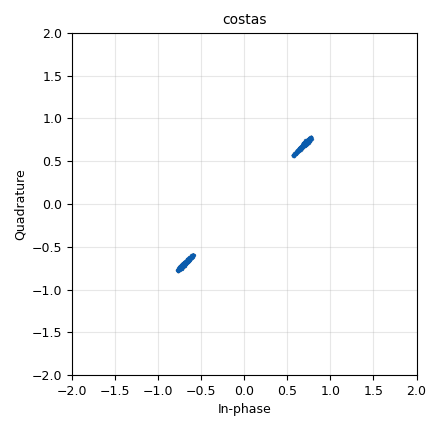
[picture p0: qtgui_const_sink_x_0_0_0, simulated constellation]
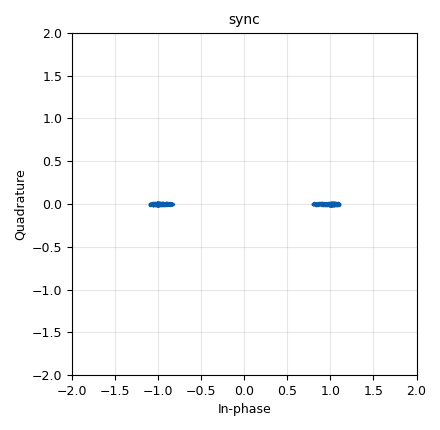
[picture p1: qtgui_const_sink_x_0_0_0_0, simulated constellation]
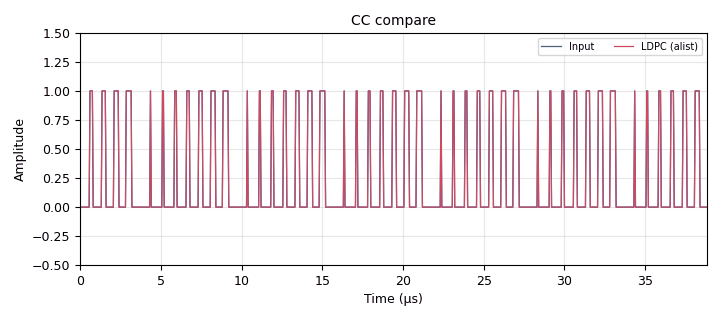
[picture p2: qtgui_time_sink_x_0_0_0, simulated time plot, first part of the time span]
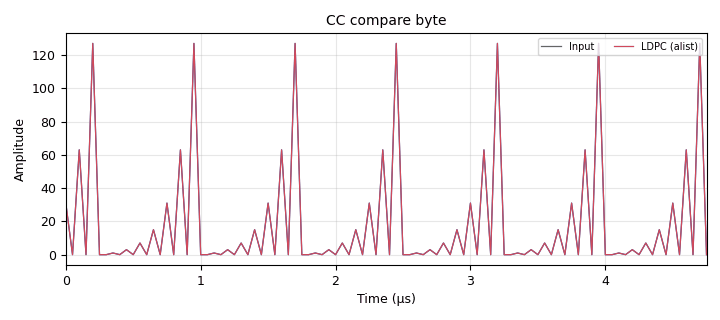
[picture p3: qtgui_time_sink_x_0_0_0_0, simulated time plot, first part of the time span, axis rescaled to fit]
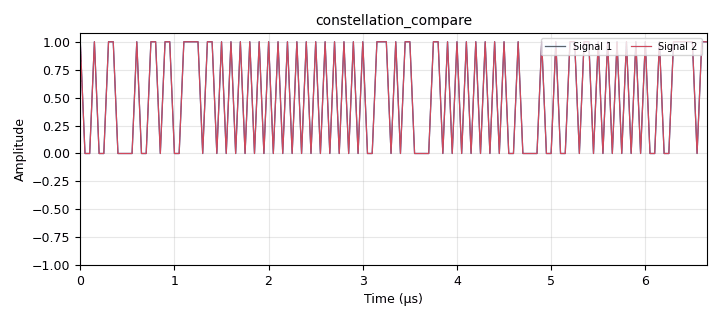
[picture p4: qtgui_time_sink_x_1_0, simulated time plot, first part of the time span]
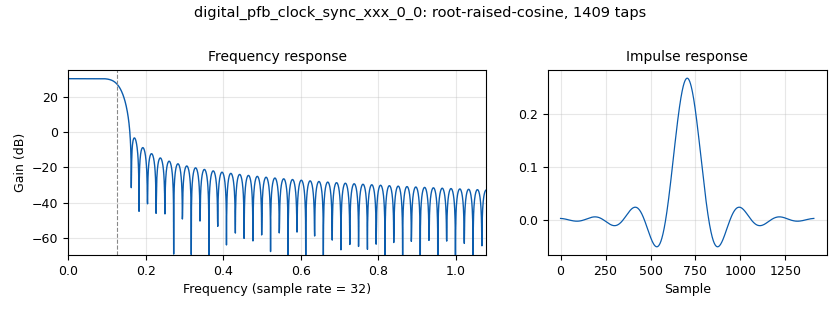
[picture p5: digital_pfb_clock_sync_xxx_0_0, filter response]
options:
  parameters:
    author: J. Gier
    generate_options: qt_gui
    id: BPSK_Mod_Demod
    output_language: python
    title: BPSK Modulator / Demodulator
  states: {}

blocks:
- name: access_code
  id: variable
  parameters:
    comment: This is the CCSDS access code
    value: 0o00011010110011111111110000011101
  states: {}
- name: bpsk
  id: variable_constellation
  parameters:
    precision: '8'
    type: bpsk
  states: {}
- name: cc_dec_def
  id: variable_cc_decoder_def
  parameters:
    framebits: 'frame_size  * 8 '
    k: '7'
    mode: fec.CC_STREAMING
    ndim: '0'
    padding: 'False'
    polys: '[-109,79]'
    rate: '2'
    state_end: '-1'
    state_start: '0'
  states: {}
- name: cc_enc_def
  id: variable_cc_encoder_def
  parameters:
    framebits: 'frame_size * 8 '
    k: '7'
    mode: fec.CC_STREAMING
    ndim: '0'
    padding: 'False'
    polys: '[-109,79]'
    rate: '2'
    state_start: '0'
  states: {}
- name: decode_bits
  id: variable
  parameters:
    value: int(frame_bits/8)
  states: {}
- name: delay_bit
  id: variable
  parameters:
    value: '16'
  states: {}
- name: delay_byte
  id: variable
  parameters:
    value: delay_bit * 2
  states: {}
- name: delay_constellation
  id: variable
  parameters:
    value: delay_bit * 2
  states: {}
- name: depth
  id: variable
  parameters:
    value: '1'
  states: {}
- name: excess_bw
  id: variable
  parameters:
    value: '0.250'
  states: {}
- name: first_root
  id: variable
  parameters:
    value: '112'
  states: {}
- name: format_key
  id: variable
  parameters:
    value: '"protocol_packet"'
  states: {}
- name: frame_bits
  id: variable
  parameters:
    value: frame_bytes*8
  states: {}
- name: frame_bytes
  id: variable
  parameters:
    value: payload_coded_len* depth
  states: {}
- name: frame_len
  id: variable
  parameters:
    value: '2072'
  states: {}
- name: freq_offset
  id: variable_qtgui_range
  parameters:
    label: 'Channel: Freq Offset'
    start: '-100e-2 * (1/samp_rate)'
    step: 10e-2 * (1/samp_rate)
    stop: 100e-2 * (1/samp_rate)
    value: '0'
  states: {}
- name: gen_poly
  id: variable
  parameters:
    value: '285'
  states: {}
- name: len_tag_key
  id: variable
  parameters:
    value: '"frame_len"'
  states: {}
- name: len_tag_key_bits
  id: variable
  parameters:
    value: '"frame_len_bits"'
  states: {}
- name: nfilts
  id: variable
  parameters:
    value: '32'
  states: {}
- name: noise_volt
  id: variable_qtgui_range
  parameters:
    label: 'Channel: Noise Voltage'
    start: '0'
    step: '100e-3'
    stop: '500e-3'
    value: '10E-3'
  states: {}
- name: nroots
  id: variable
  parameters:
    value: '32'
  states: {}
- name: payload_coded_len
  id: variable
  parameters:
    value: payload_len_int + 32
  states: {}
- name: payload_len_int
  id: variable
  parameters:
    value: '223'
  states: {}
- name: phase_bw
  id: variable
  parameters:
    value: 2*3.14/100
  states: {}
- name: prim_element
  id: variable
  parameters:
    value: '2'
  states: {}
- name: rrc_taps
  id: variable
  parameters:
    value: firdes.root_raised_cosine(nfilts, nfilts, 1.0/float(sps), excess_bw, nfilts*11*sps)
  states: {}
- name: rs_generator
  id: variable
  parameters:
    comment: int 391 = 0x187, which is CCSDS rs poly generator
    value: '291'
  states: {}
- name: samp_rate
  id: variable
  parameters:
    value: 20E6
  states: {}
- name: sps
  id: variable
  parameters:
    value: '4'
  states: {}
- name: symbol_rate
  id: variable
  parameters:
    value: samp_rate/sps
  states: {}
- name: time_offset
  id: variable_qtgui_range
  parameters:
    label: 'Channel: time offset'
    start: '0.999'
    step: '100e-6'
    stop: '1.001'
    value: '1'
  states: {}
- name: blocks_char_to_float_0_1_0
  id: blocks_char_to_float
  parameters:
    scale: '1'
  states: {}
- name: blocks_char_to_float_0_1_0_0
  id: blocks_char_to_float
  parameters:
    scale: '1'
  states: {state: disabled}
- name: blocks_char_to_float_0_1_0_0_0
  id: blocks_char_to_float
  parameters:
    scale: '1'
  states: {}
- name: blocks_char_to_float_0_1_0_0_1_0_1
  id: blocks_char_to_float
  parameters:
    scale: '1'
  states: {}
- name: blocks_char_to_float_0_1_0_0_1_0_1_0
  id: blocks_char_to_float
  parameters:
    scale: '1'
  states: {}
- name: blocks_char_to_float_0_1_0_1
  id: blocks_char_to_float
  parameters:
    scale: '1'
  states: {}
- name: blocks_char_to_float_0_1_0_1_0
  id: blocks_char_to_float
  parameters:
    scale: '1'
  states: {}
- name: blocks_char_to_float_0_2_0
  id: blocks_char_to_float
  parameters:
    scale: '1'
  states: {}
- name: blocks_delay_1
  id: blocks_delay
  parameters:
    delay: '16'
    type: byte
  states: {}
- name: blocks_delay_1_0
  id: blocks_delay
  parameters:
    delay: delay_byte
    type: byte
  states: {}
- name: blocks_delay_2
  id: blocks_delay
  parameters:
    delay: delay_constellation
    type: byte
  states: {}
- name: blocks_delay_3
  id: blocks_delay
  parameters:
    delay: '3'
    type: complex
  states: {}
- name: blocks_pack_k_bits_bb_1_0
  id: blocks_pack_k_bits_bb
  parameters:
    k: '8'
  states: {}
- name: blocks_pack_k_bits_bb_1_0_0
  id: blocks_pack_k_bits_bb
  parameters:
    k: '8'
  states: {state: disabled}
- name: blocks_pack_k_bits_bb_1_0_0_0
  id: blocks_pack_k_bits_bb
  parameters:
    k: '8'
  states: {}
- name: blocks_pack_k_bits_bb_1_0_0_0_0
  id: blocks_pack_k_bits_bb
  parameters:
    k: '8'
  states: {state: disabled}
- name: blocks_throttle2_0
  id: blocks_throttle2
  parameters:
    samples_per_second: samp_rate
    type: complex
  states: {}
- name: blocks_unpack_k_bits_bb_2
  id: blocks_unpack_k_bits_bb
  parameters:
    k: '8'
  states: {}
- name: blocks_unpack_k_bits_bb_2_0
  id: blocks_unpack_k_bits_bb
  parameters:
    k: '8'
  states: {}
- name: blocks_vector_source_x_0_1_0
  id: blocks_vector_source_x
  parameters:
    repeat: 'True'
    type: byte
    vector: (frame_size//15)*[0, 0, 1, 0, 3, 0, 7, 0, 15, 0, 31, 0, 63, 0, 127]
  states: {}
- name: blocks_vector_source_x_0_1_0_0
  id: blocks_vector_source_x
  parameters:
    repeat: 'True'
    type: byte
    vector: (frame_size//15)*[0, 0, 1, 0, 3, 0, 7, 0, 15, 0, 31, 0, 63, 0, 127]
  states: {state: disabled}
- name: channels_channel_model_0
  id: channels_channel_model
  parameters:
    epsilon: time_offset
    freq_offset: freq_offset
    noise_voltage: noise_volt
    seed: '0'
    taps: '1.0'
  states: {}
- name: digital_constellation_decoder_cb_0
  id: digital_constellation_decoder_cb
  parameters:
    constellation: bpsk
  states: {}
- name: digital_constellation_modulator_0_0
  id: digital_constellation_modulator
  parameters:
    constellation: bpsk
    differential: 'False'
    excess_bw: excess_bw
    samples_per_symbol: sps
  states: {}
- name: digital_costas_loop_cc_0_0
  id: digital_costas_loop_cc
  parameters:
    order: '4'
    use_snr: 'True'
    w: '0.2'
  states: {}
- name: digital_descrambler_bb_0
  id: digital_descrambler_bb
  parameters:
    len: '7'
    mask: '0x9A'
    seed: '0xFF'
  states: {state: disabled}
- name: digital_map_bb_0_0_0_0
  id: digital_map_bb
  parameters:
    map: '[-1,1]'
  states: {}
- name: digital_pfb_clock_sync_xxx_0_0
  id: digital_pfb_clock_sync_xxx
  parameters:
    filter_size: nfilts
    init_phase: '0'
    loop_bw: excess_bw
    max_dev: '1.5'
    osps: '1'
    sps: sps
    taps: rrc_taps
    type: ccf
  states: {}
- name: digital_scrambler_bb_0
  id: digital_scrambler_bb
  parameters:
    len: '7'
    mask: '0x9A'
    seed: '0xFF'
  states: {state: disabled}
- name: fec_extended_decoder_0_1_0
  id: fec_extended_decoder
  parameters:
    decoder_list: cc_dec_def
    puncpat: puncpat
    threadtype: capillary
  states: {}
- name: fec_extended_encoder_1_0_0
  id: fec_extended_encoder
  parameters:
    encoder_list: cc_enc_def
    puncpat: puncpat
    threadtype: capillary
  states: {}
- name: frame_size
  id: parameter
  parameters:
    label: Frame Size
    type: intx
    value: '100'
  states: {}
- name: puncpat
  id: parameter
  parameters:
    value: '''11'''
  states: {}
- name: qtgui_const_sink_x_0_0_0
  id: qtgui_const_sink_x
  parameters:
    name: costas
    size: '2056'
    type: complex
  states: {}
- name: qtgui_const_sink_x_0_0_0_0
  id: qtgui_const_sink_x
  parameters:
    name: sync
    size: '2056'
    type: complex
  states: {}
- name: qtgui_time_sink_x_0_0_0
  id: qtgui_time_sink_x
  parameters:
    alpha2: '0.6'
    label1: Input
    label2: LDPC (alist)
    name: CC compare
    nconnections: '2'
    size: '2048'
    srate: samp_rate
    type: float
    update_time: '0.01'
    ymax: '1.5'
    ymin: '-0.5'
  states: {}
- name: qtgui_time_sink_x_0_0_0_0
  id: qtgui_time_sink_x
  parameters:
    alpha2: '0.6'
    label1: Input
    label2: LDPC (alist)
    name: CC compare byte
    nconnections: '2'
    size: '2048'
    srate: samp_rate
    type: float
    update_time: '0.01'
    ymax: '1.5'
    ymin: '-0.5'
  states: {}
- name: qtgui_time_sink_x_0_1_0_0_0_1
  id: qtgui_time_sink_x
  parameters:
    entags: 'False'
    grid: 'True'
    label1: Input
    name: descrambler_out
    size: '2048'
    srate: samp_rate
    type: float
    update_time: '0.01'
    ymax: '1.5'
    ymin: '-5'
  states: {state: disabled}
- name: qtgui_time_sink_x_1_0
  id: qtgui_time_sink_x
  parameters:
    name: constellation_compare
    nconnections: '2'
    size: '1024'
    srate: samp_rate
    type: float
  states: {}
- name: virtual_sink_0
  id: virtual_sink
  parameters:
    stream_id: constel_in
  states: {}
- name: virtual_sink_1_0_0
  id: virtual_sink
  parameters:
    comment: input is byte formatted
    stream_id: input
  states: {}
- name: virtual_sink_2
  id: virtual_sink
  parameters:
    stream_id: constel_out
  states: {}
- name: virtual_sink_2_0
  id: virtual_sink
  parameters:
    stream_id: decoder_out
  states: {}
- name: virtual_sink_3
  id: virtual_sink
  parameters:
    stream_id: channel
  states: {}
- name: virtual_source_0
  id: virtual_source
  parameters:
    stream_id: constel_out
  states: {}
- name: virtual_source_0_0
  id: virtual_source
  parameters:
    stream_id: constel_out
  states: {}
- name: virtual_source_0_1
  id: virtual_source
  parameters:
    stream_id: decoder_out
  states: {}
- name: virtual_source_1
  id: virtual_source
  parameters:
    stream_id: channel
  states: {}
- name: virtual_source_1_1_0
  id: virtual_source
  parameters:
    comment: 'Input: Bytes'
    stream_id: input
  states: {}
- name: virtual_source_2
  id: virtual_source
  parameters:
    stream_id: constel_in
  states: {}
- name: virtual_source_2_0
  id: virtual_source
  parameters:
    stream_id: constel_in
  states: {}

connections:
- [blocks_char_to_float_0_1_0, '0', qtgui_time_sink_x_0_0_0, '0']
- [blocks_char_to_float_0_1_0_0, '0', qtgui_time_sink_x_0_1_0_0_0_1, '0']
- [blocks_char_to_float_0_1_0_0_0, '0', qtgui_time_sink_x_0_0_0, '1']
- [blocks_char_to_float_0_1_0_0_1_0_1, '0', qtgui_time_sink_x_1_0, '1']
- [blocks_char_to_float_0_1_0_0_1_0_1_0, '0', qtgui_time_sink_x_1_0, '0']
- [blocks_char_to_float_0_1_0_1, '0', qtgui_time_sink_x_0_0_0_0, '0']
- [blocks_char_to_float_0_1_0_1_0, '0', qtgui_time_sink_x_0_0_0_0, '1']
- [blocks_char_to_float_0_2_0, '0', fec_extended_decoder_0_1_0, '0']
- [blocks_delay_1, '0', blocks_char_to_float_0_1_0, '0']
- [blocks_delay_1_0, '0', blocks_char_to_float_0_1_0_1, '0']
- [blocks_delay_2, '0', blocks_char_to_float_0_1_0_0_1_0_1_0, '0']
- [blocks_delay_3, '0', digital_constellation_decoder_cb_0, '0']
- [blocks_pack_k_bits_bb_1_0, '0', digital_constellation_modulator_0_0, '0']
- [blocks_pack_k_bits_bb_1_0_0, '0', digital_descrambler_bb_0, '0']
- [blocks_pack_k_bits_bb_1_0_0_0, '0', blocks_char_to_float_0_1_0_1_0, '0']
- [blocks_pack_k_bits_bb_1_0_0_0_0, '0', blocks_char_to_float_0_1_0_0, '0']
- [blocks_throttle2_0, '0', channels_channel_model_0, '0']
- [blocks_unpack_k_bits_bb_2, '0', fec_extended_encoder_1_0_0, '0']
- [blocks_unpack_k_bits_bb_2_0, '0', blocks_delay_1, '0']
- [blocks_vector_source_x_0_1_0, '0', blocks_unpack_k_bits_bb_2, '0']
- [blocks_vector_source_x_0_1_0, '0', virtual_sink_1_0_0, '0']
- [blocks_vector_source_x_0_1_0_0, '0', digital_scrambler_bb_0, '0']
- [blocks_vector_source_x_0_1_0_0, '0', virtual_sink_1_0_0, '0']
- [channels_channel_model_0, '0', virtual_sink_3, '0']
- [digital_constellation_decoder_cb_0, '0', virtual_sink_2, '0']
- [digital_constellation_modulator_0_0, '0', blocks_throttle2_0, '0']
- [digital_costas_loop_cc_0_0, '0', blocks_delay_3, '0']
- [digital_costas_loop_cc_0_0, '0', qtgui_const_sink_x_0_0_0, '0']
- [digital_descrambler_bb_0, '0', blocks_pack_k_bits_bb_1_0_0_0_0, '0']
- [digital_descrambler_bb_0, '0', virtual_sink_2_0, '0']
- [digital_map_bb_0_0_0_0, '0', blocks_char_to_float_0_2_0, '0']
- [digital_pfb_clock_sync_xxx_0_0, '0', digital_costas_loop_cc_0_0, '0']
- [digital_pfb_clock_sync_xxx_0_0, '0', qtgui_const_sink_x_0_0_0_0, '0']
- [digital_scrambler_bb_0, '0', fec_extended_encoder_1_0_0, '0']
- [fec_extended_decoder_0_1_0, '0', blocks_pack_k_bits_bb_1_0_0, '0']
- [fec_extended_decoder_0_1_0, '0', virtual_sink_2_0, '0']
- [fec_extended_encoder_1_0_0, '0', virtual_sink_0, '0']
- [virtual_source_0, '0', digital_map_bb_0_0_0_0, '0']
- [virtual_source_0_0, '0', blocks_char_to_float_0_1_0_0_1_0_1, '0']
- [virtual_source_0_1, '0', blocks_char_to_float_0_1_0_0_0, '0']
- [virtual_source_0_1, '0', blocks_pack_k_bits_bb_1_0_0_0, '0']
- [virtual_source_1, '0', digital_pfb_clock_sync_xxx_0_0, '0']
- [virtual_source_1_1_0, '0', blocks_delay_1_0, '0']
- [virtual_source_1_1_0, '0', blocks_unpack_k_bits_bb_2_0, '0']
- [virtual_source_2, '0', blocks_pack_k_bits_bb_1_0, '0']
- [virtual_source_2_0, '0', blocks_delay_2, '0']

metadata:
  file_format: 1
  grc_version: 3.10.12.0
